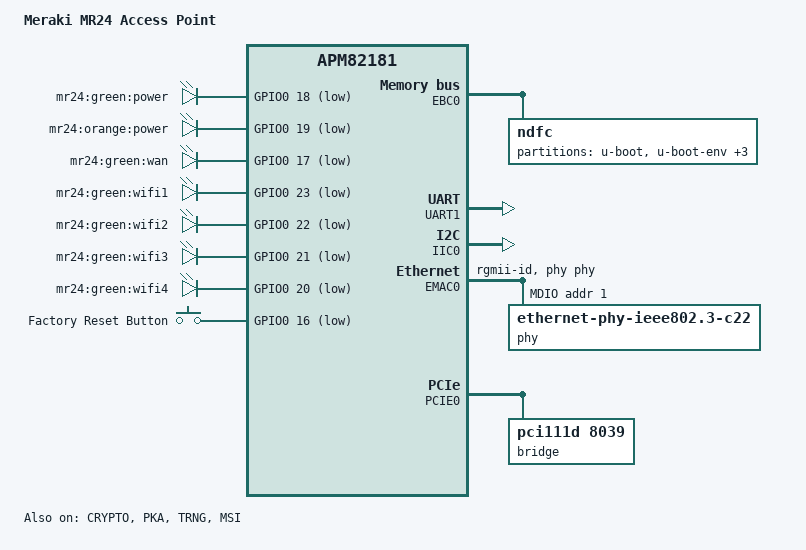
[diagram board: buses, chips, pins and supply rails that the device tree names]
// SPDX-License-Identifier: GPL-2.0-only
/*
 * Device Tree Source for Meraki MR24 (Ikarem)
 *
 * Copyright (C) 2016 Chris Blake <chrisrblake93@gmail.com>
 *
 * Based on Cisco Meraki GPL Release r23-20150601 MR24 DTS
 */

/dts-v1/;

#include "apm82181.dtsi"

/ {
	model = "Meraki MR24 Access Point";
	compatible = "meraki,mr24", "meraki,ikarem", "apm,bluestone";

	aliases {
		serial0 = &UART1;
		led-boot = &status;
		led-failsafe = &failsafe;
		led-running = &status;
		led-upgrade = &status;
	};

	chosen {
		stdout-path = "/plb/opb/serial@ef600400";
	};
};


&CRYPTO {
	status = "okay";
};

&PKA {
	status = "okay";
};

&TRNG {
	status = "okay";
};

&EBC0 {
	/* Ikarem has 32MB of NAND */
	ndfc@1,0 {
		status = "okay";
		/* 32 MiB NAND Flash */
		nand {
			partition@0 {
				label = "u-boot";
				reg = <0x00000000 0x00150000>;
				read-only;
			};

			partition@150000 {
				/*
				 * The u-boot environment size is one NAND
				 * block (16KiB). u-boot allocates four NAND
				 * blocks (64KiB) in order to have spares
				 * around for bad block management
				 */
				label = "u-boot-env";
				reg = <0x00150000 0x00010000>;
				read-only;
			};

			partition@160000 {
				/*
				 * redundant u-boot environment.
				 * has to be kept it in sync with the
				 * data in "u-boot-env".
				 */
				label = "u-boot-env-redundant";
				reg = <0x00160000 0x00010000>;
				read-only;
			};

			partition@170000 {
				label = "oops";
				reg = <0x00170000 0x00010000>;
			};

			partition@180000 {
				label = "ubi";
				reg = <0x00180000 0x01e80000>;
			};
		};
	};
};

&UART1 {
	status = "okay";
};

&GPIO0 {
	status = "okay";
};

&IIC0 {
	status = "okay";
	/* Boot ROM is at 0x52-0x53, do not touch */
	/* Unknown chip at 0x6e, not sure what it is */
};

&EMAC0 {
	status = "okay";

	phy-mode = "rgmii-id";
	phy-map = <0x2>;
	phy-address = <0x1>;
	phy-handle = <&phy>;

	mdio {
		#address-cells = <1>;
		#size-cells = <0>;

		phy: phy@1 {
			compatible = "ethernet-phy-ieee802.3-c22";
			reg = <1>;
		};
	};
};

&POB0 {
	leds {
		compatible = "gpio-leds";

		status: power-green {
			label = "mr24:green:power";
			gpios = <&GPIO0 18 GPIO_ACTIVE_LOW>;
		};

		failsafe: power-orange {
			label = "mr24:orange:power";
			gpios = <&GPIO0 19 GPIO_ACTIVE_LOW>;
		};

		lan {
			label = "mr24:green:wan";
			gpios = <&GPIO0 17 GPIO_ACTIVE_LOW>;
		};

		ssi-0 {
			label = "mr24:green:wifi1";
			gpios = <&GPIO0 23 GPIO_ACTIVE_LOW>;
		};

		ssi-1 {
			label = "mr24:green:wifi2";
			gpios = <&GPIO0 22 GPIO_ACTIVE_LOW>;
		};

		ssi-2 {
			label = "mr24:green:wifi3";
			gpios = <&GPIO0 21 GPIO_ACTIVE_LOW>;
		};

		ssi-3 {
			label = "mr24:green:wifi4";
			gpios = <&GPIO0 20 GPIO_ACTIVE_LOW>;
		};
	};

	keys {
		compatible = "gpio-keys";

		reset {
			/* Label as per Meraki's "MR24 Installation Guide" */
			label = "Factory Reset Button";
			linux,code = <KEY_RESTART>;
			interrupt-parent = <&UIC1>;
			interrupts = <0x15 IRQ_TYPE_EDGE_FALLING>;
			gpios = <&GPIO0 16 GPIO_ACTIVE_LOW>;
			debounce-interval = <60>;
		};
	};
};

&PCIE0 {
	status = "okay";
	/*
	 * relevant lspci topology:
	 *
	 *	-+-[0000:40]---00.0-[41-7f]----00.0-[42-45]--+-02.0-[43]----00.0
	 *	                                             +-03.0-[44]----00.0
	 *
	 */

	bridge@64,0 {
		reg = <0x00400000 0 0 0 0>;
		#address-cells = <3>;
		#size-cells = <2>;
		ranges;

		bridge@65,0 {
			/* IDT PES3T3 PCI Express Switch */
			compatible = "pci111d,8039";
			reg = <0x00410000 0 0 0 0>;
			#address-cells = <3>;
			#size-cells = <2>;
			ranges;

			bridge@66,2 {
				compatible = "pci111d,8039";
				reg = <0x00421000 0 0 0 0>;
				#address-cells = <3>;
				#size-cells = <2>;
				ranges;

				wifi0: wifi@67,0 {
					/* Atheros AR9380 2.4GHz */
					compatible = "pci168c,0030";
					reg = <0x00430000 0 0 0 0>;
					interrupts = <3>; /* INTC 4.1.1 */
				};
			};

			bridge@66,3 {
				compatible = "pci111d,8039";
				reg = <0x00421800 0 0 0 0>;
				#address-cells = <3>;
				#size-cells = <2>;
				ranges;

				wifi1: wifi@68,0 {
					/* Atheros AR9380 5GHz */
					compatible = "pci168c,0030";
					reg = <0x00440000 0 0 0 0>;
					interrupts = <4>; /* INTD 4.1.1 */
				};
			};
		};
	};
};

&MSI {
	status = "okay";
};
